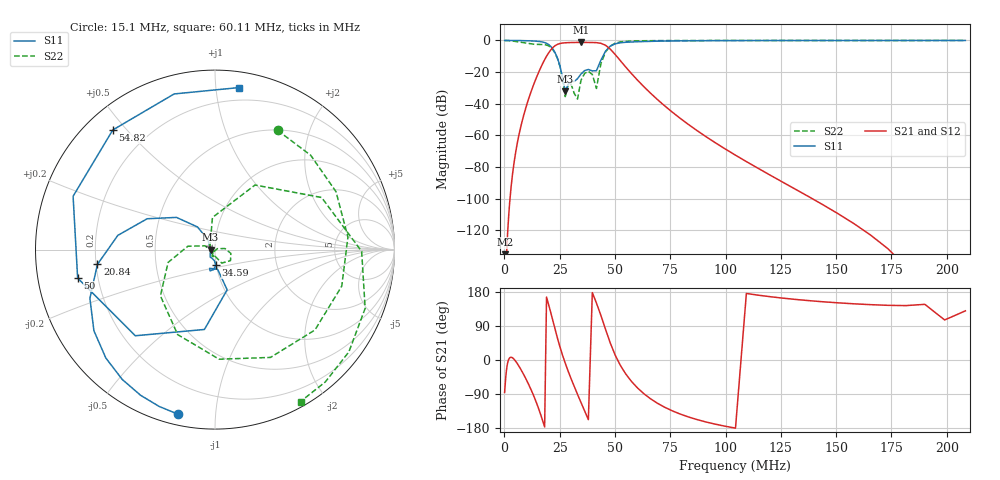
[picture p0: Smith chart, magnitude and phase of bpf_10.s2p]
! NeoRadio BPF 10: 30-40 MHz, selected in the bank
! generated_by 859cd57
# HZ S RI R 50
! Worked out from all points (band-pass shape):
!   182 points, 50 kHz to 208.4 MHz, reference 50 ohm
!   highest |S21| = -1.22 dB at 34.59 MHz (marker M1); lowest = -198.7 dB at 99.76 kHz (marker M2)
!   |S21| within 3 dB of the highest: 22.1 MHz to 46.73 MHz (24.64 MHz wide, 71.6 % of centre)
!   lowest |S11| = -32.2 dB at 27.48 MHz (marker M3), VSWR 1.05, Z = 47.6 - j0.0487 ohm
!   |S11| at or under -10 dB: 23.6 MHz to 44.5 MHz (20.9 MHz wide, 61.4 % of centre)
!   |S22| runs from -37.0 to 0.0 dB; largest |S21 - S12| = 0
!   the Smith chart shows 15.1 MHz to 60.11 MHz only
!   S11 on the Smith chart (normalised r, x): 15.1 MHz: 0.05, -0.80; 20.84 MHz: 0.21, -0.06; 34.59 MHz: 0.99, -0.17; 50 MHz: 0.12, -0.10; 54.82 MHz: 0.08, +0.46; 60.11 MHz: 0.11, +1.15
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50000  1 -0.00524  1.09e-12 -1.46e-11  1.09e-12 -1.46e-11  0.9998 -0.0169
99763.12  0.9999 -0.0104  1.72e-11 -1.15e-10  1.72e-11 -1.15e-10  0.9994 -0.0338
208434.7  0.9998 -0.0218  3.29e-10 -1.04e-09  3.29e-10 -1.04e-09  0.9974 -0.0705
829793.5  0.9961 -0.0868  8.73e-08 -5.04e-08  8.73e-08 -5.04e-08  0.9587 -0.2763
3303467  0.9385 -0.34  3.76e-05 4.44e-06  3.76e-05 4.44e-06  0.4349 -0.8636
8689004  0.5809 -0.797  0.00341 -0.00271  0.00341 -0.00271  -0.8021 -0.2669
1.315134e7  0.0642 -0.9594  -0.00256 -0.0396  -0.00256 -0.0396  -0.2396 0.7249
1.509976e7  -0.2087 -0.9161  -0.0471 -0.0729  -0.0471 -0.0729  0.3484 0.6644
1.81539e7  -0.6081 -0.6042  -0.2464 -0.0139  -0.2464 -0.0139  0.7061 -0.2038
2.084347e7  -0.6551 -0.0822  -0.2965 0.396  -0.2965 0.396  0.0232 -0.6107
2.39315e7  -0.2147 0.1794  0.3983 0.6389  0.3983 0.6389  -0.2612 -0.0714
2.747704e7  -0.0244 -0.000511  0.8355 -0.1245  0.8355 -0.1245  -0.011 -0.0126
3.459155e7  0.00373 -0.0868  -0.3288 -0.8044  -0.3288 -0.8044  0.0548 0.00613
4.158819e7  0.0147 -0.1099  -0.7391 0.4241  -0.7391 0.4241  -0.0299 -0.00548
4.354818e7  0.0678 -0.224  -0.3882 0.716  -0.3882 0.716  -0.0142 0.1788
5e7  -0.7653 -0.1585  0.3539 0.0853  0.3539 0.0853  0.8171 -0.0098
5.235643e7  -0.7906 0.2973  0.2249 -0.0554  0.2249 -0.0554  0.8365 -0.3277
5.482391e7  -0.5697 0.6663  0.1158 -0.0866  0.1158 -0.0866  0.7458 -0.5701
6.011322e7  0.1329 0.9026  0.0159 -0.0538  0.0159 -0.0538  0.4768 -0.8467
7.567806e7  0.9652 -0.0148  -0.00385 -0.00404  -0.00385 -0.00404  -0.0935 -0.9874
1.145434e8  0.2586 -0.9596  -9.12e-05 1.41e-05  -9.12e-05 1.41e-05  -0.621 -0.7807
2.084347e8  -0.5722 -0.8183  -3.23e-09 3.9e-09  -3.23e-09 3.9e-09  -0.8874 -0.4574
